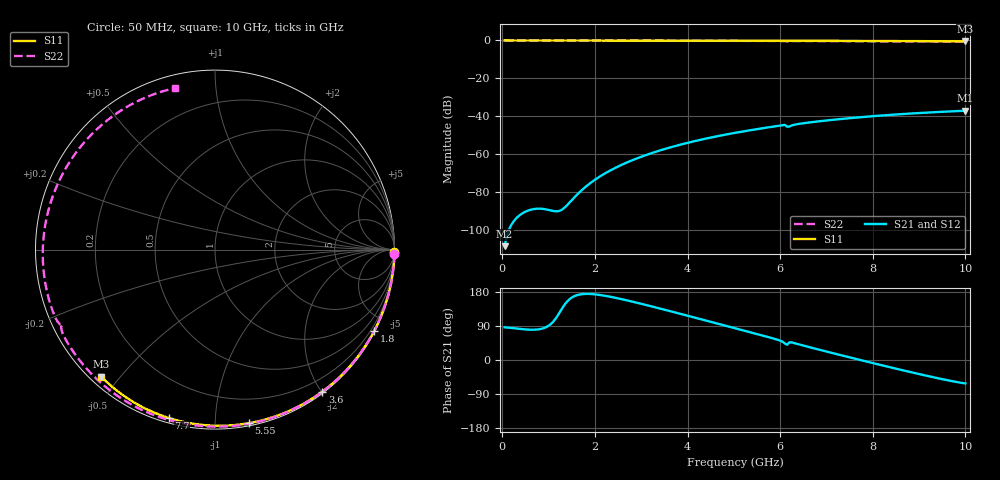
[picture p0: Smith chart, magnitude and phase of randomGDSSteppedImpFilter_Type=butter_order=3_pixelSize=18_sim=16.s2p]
! freq	dB(S11)	phase(S11)	dB(S12)	phase(S12)
!  dB(S21)	phase(S21)	dB(S22)	phase(S22)
!S-par simulation data
#  GHz  S  DB  R 50
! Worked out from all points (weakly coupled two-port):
!   200 points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, 50 MHz to 10 GHz, reference 50 ohm
!   highest |S21| = -37.07 dB at 10 GHz (marker M1); lowest = -108.6 dB at 50 MHz (marker M2)
!   lowest |S11| = -0.4 dB at 10 GHz (marker M3), VSWR 38.82, Z = 1.55 - j22.3 ohm
!   |S11| at or under -10 dB: nowhere
!   |S22| runs from -0.7 to 0.0 dB; largest |S21 - S12| = 0
!   S11 on the Smith chart (normalised r, x): 50 MHz: open; 1.8 GHz: 0.04, -4.16; 3.6 GHz: 0.02, -2.01; 5.55 GHz: 0.02, -1.21; 7.7 GHz: 0.02, -0.76; 10 GHz: 0.03, -0.45
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0.05  -0.00 -0.8  -108.58 86.2  -108.58 86.2  -0.00 -1.4
0.8  -0.01 -12.2  -88.78 81.2  -88.78 81.2  -0.03 -22.2
1.65  -0.03 -24.8  -80.52 172.3  -80.52 172.3  -0.06 -45.2
1.75  -0.03 -26.3  -78.27 174.1  -78.27 174.1  -0.06 -47.9
1.8  -0.03 -27.1  -77.23 174.4  -77.23 174.4  -0.06 -49.2
2.1  -0.04 -31.5  -71.92 171.7  -71.92 171.7  -0.07 -57.0
2.45  -0.05 -36.6  -67.12 163.9  -67.12 163.9  -0.08 -66.0
2.9  -0.06 -43.0  -62.31 151.3  -62.31 151.3  -0.10 -77.4
3.4  -0.07 -50.1  -58.09 136.0  -58.09 136.0  -0.12 -89.7
3.6  -0.07 -52.9  -56.63 129.6  -56.63 129.6  -0.12 -94.5
4.3  -0.09 -62.5  -52.31 107.2  -52.31 107.2  -0.15 -111.1
5.05  -0.11 -72.5  -48.66 83.1  -48.66 83.1  -0.19 -128.5
5.55  -0.13 -79.0  -46.61 66.9  -46.61 66.9  -0.22 -140.0
6.1  -0.15 -85.9  -44.56 43.9  -44.56 43.9  -0.36 -153.3
6.15  -0.15 -86.6  -45.50 40.3  -45.50 40.3  -0.49 -153.7
6.2  -0.16 -87.2  -45.45 46.6  -45.45 46.6  -0.37 -154.1
6.35  -0.16 -89.1  -44.26 43.1  -44.26 43.1  -0.29 -158.0
6.7  -0.18 -93.4  -43.07 31.7  -43.07 31.7  -0.31 -166.4
7.7  -0.24 -105.4  -40.58 0.9  -40.58 0.9  -0.40 169.2
8.35  -0.29 -113.0  -39.32 -18.5  -39.32 -18.5  -0.47 152.3
9.15  -0.36 -122.2  -38.10 -41.3  -38.10 -41.3  -0.56 130.0
10  -0.45 -131.8  -37.07 -61.9  -37.07 -61.9  -0.66 103.8
